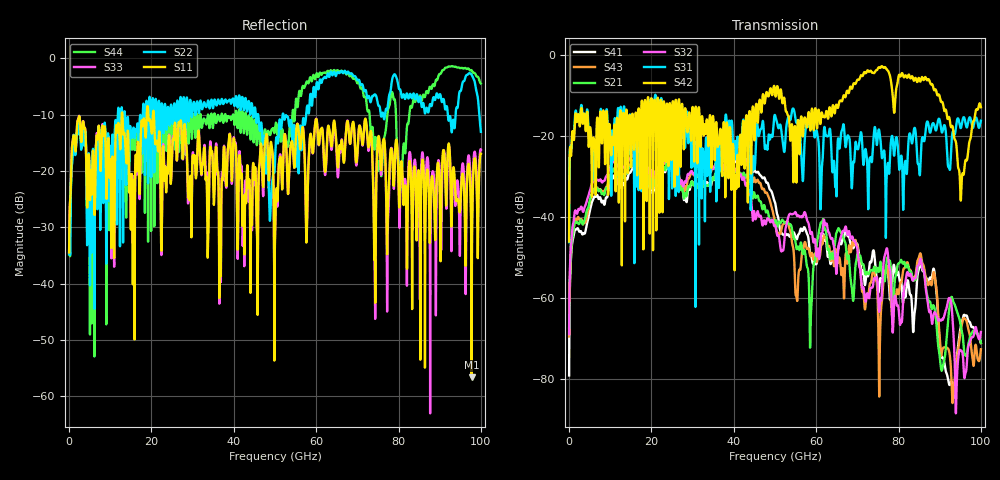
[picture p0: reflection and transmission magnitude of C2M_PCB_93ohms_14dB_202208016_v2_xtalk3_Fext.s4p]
! Info: Touchstone file created by Circ.  Input file=Intel_C2M_200G_3p5in_202208016_staggered.circ
# Hz S RI R 50
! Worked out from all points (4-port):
!   10000 points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, 10 MHz to 100 GHz, reference 50 ohm
!   strongest paths, dB at 10 MHz, 25.01 GHz, 50.01 GHz, 75.01 GHz, 100 GHz:
!     S42: -46.1, -14.9, -9.1, -3.3, -12.9
!     S31: -46.2, -31.8, -14.9, -19.5, -16.2
!     S32: -69.0, -26.1, -42.1, -58.3, -68.4
!     S21: -67.5, -27.9, -41.0, -53.0, -71.1
!     S43: -69.5, -26.2, -41.2, -63.1, -72.7
!     S41: -79.1, -27.8, -36.4, -58.0, -71.2
!   lowest |S11| = -56.6 dB at 97.76 GHz (marker M1), VSWR 1.00, Z = 50.1 - j0.0534 ohm
!   |S11| at or under -10 dB: start of sweep to 12.78 GHz; 12.94 GHz to 18.87 GHz (5.924 GHz wide, 37.2 % of centre); 20.58 GHz to end of sweep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
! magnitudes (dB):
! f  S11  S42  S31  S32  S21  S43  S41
! 10 MHz  -34.5  -46.1  -46.2  -69.0  -67.5  -69.5  -79.1
! 1.46 GHz  -16.2  -15.5  -14.8  -38.5  -41.3  -40.9  -43.1
! 16.72 GHz  -14.8  -15.9  -23.6  -23.5  -25.2  -24.6  -26.3
! 58.65 GHz  -13.4  -18.3  -15.4  -44.2  -66.3  -49.8  -49.4
! 80.47 GHz  -19.8  -5.4  -25.8  -66.2  -50.9  -56.2  -55.8
! 97.76 GHz  -56.6  -18.6  -17.0  -69.7  -68.8  -73.4  -67.2
! 100 GHz  -16.9  -12.9  -16.2  -68.4  -71.1  -72.7  -71.2
